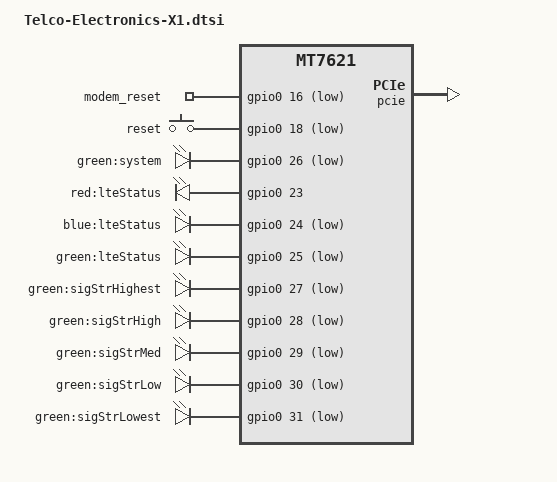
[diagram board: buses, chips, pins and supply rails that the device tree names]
/*
 *  BSD LICENSE
 *
 *  Copyright 2019 Nicholas Smith <mips171@icloud.com>
 *  Licensed to the public under the GNU GPL v2.0.
 *  All rights reserved.
 *
 *  Redistribution and use in source and binary forms, with or without
 *  modification, are permitted provided that the following conditions
 *  are met:
 *
 *    * Redistributions of source code must retain the above copyright
 *      notice, this list of conditions and the following disclaimer.
 *    * Redistributions in binary form must reproduce the above copyright
 *      notice, this list of conditions and the following disclaimer in
 *      the documentation and/or other materials provided with the
 *      distribution.
 *    * Neither the name of Broadcom Corporation nor the names of its
 *      contributors may be used to endorse or promote products derived
 *      from this software without specific prior written permission.
 *
 *  THIS SOFTWARE IS PROVIDED BY THE COPYRIGHT HOLDERS AND CONTRIBUTORS
 *  "AS IS" AND ANY EXPRESS OR IMPLIED WARRANTIES, INCLUDING, BUT NOT
 *  LIMITED TO, THE IMPLIED WARRANTIES OF MERCHANTABILITY AND FITNESS FOR
 *  A PARTICULAR PURPOSE ARE DISCLAIMED. IN NO EVENT SHALL THE COPYRIGHT
 *  OWNER OR CONTRIBUTORS BE LIABLE FOR ANY DIRECT, INDIRECT, INCIDENTAL,
 *  SPECIAL, EXEMPLARY, OR CONSEQUENTIAL DAMAGES (INCLUDING, BUT NOT
 *  LIMITED TO, PROCUREMENT OF SUBSTITUTE GOODS OR SERVICES; LOSS OF USE,
 *  DATA, OR PROFITS; OR BUSINESS INTERRUPTION) HOWEVER CAUSED AND ON ANY
 *  THEORY OF LIABILITY, WHETHER IN CONTRACT, STRICT LIABILITY, OR TORT
 *  (INCLUDING NEGLIGENCE OR OTHERWISE) ARISING IN ANY WAY OUT OF THE USE
 *  OF THIS SOFTWARE, EVEN IF ADVISED OF THE POSSIBILITY OF SUCH DAMAGE.
 */

#include "mt7621.dtsi"

#include <dt-bindings/gpio/gpio.h>
#include <dt-bindings/input/input.h>

/ {
	compatible = "telcoelectronics,x1", "mediatek,mt7621-soc";

	chosen {
		bootargs = "console=ttyS0,115200";
	};

	gpio-export {
		compatible = "gpio-export";
		#size-cells = <0>;

		modem_reset {
			gpio-export,name = "modem_reset";
			gpio-export,output = <1>;
			gpios = <&gpio0 16 GPIO_ACTIVE_LOW>;
		};

	};

	gpio-keys-polled {
		compatible = "gpio-keys-polled";
		#address-cells = <1>;
		#size-cells = <0>;
		poll-interval = <20>;

		reset {
			label = "reset";
			gpios = <&gpio0 18 GPIO_ACTIVE_LOW>;
			linux,code = <KEY_RESTART>;
		};
	};

	gpio-leds {
		compatible = "gpio-leds";
		
		system {
			label = "green:system";
			gpio-export,direction_may_change = <1>;
			gpios = <&gpio0 26 GPIO_ACTIVE_LOW>;
		};
		
		lteStatus1 {
			label = "red:lteStatus";
			gpio-export,direction_may_change = <1>;
			gpios = <&gpio0 23 GPIO_ACTIVE_HIGH>;
		};
		
		lteStatus2 {
			label = "blue:lteStatus";
			gpio-export,direction_may_change = <1>;
			gpios = <&gpio0 24 GPIO_ACTIVE_LOW>;
		};
		
		lteStatus3 {
			label = "green:lteStatus";
			gpio-export,direction_may_change = <1>;			
			gpios = <&gpio0 25 GPIO_ACTIVE_LOW>;
		};
		
		sigStr1 {
			label = "green:sigStrHighest";
			gpio-export,direction_may_change = <1>;
			gpios = <&gpio0 27 GPIO_ACTIVE_LOW>;
		};

                sigStr2 {
			label = "green:sigStrHigh";
			//gpio-export,name = "signalStrHigh";
			gpio-export,direction_may_change = <1>;
			gpios = <&gpio0 28 GPIO_ACTIVE_LOW>;
		};
		
		sigStr3 {
			label = "green:sigStrMed";
			gpio-export,direction_may_change = <1>;
			gpios = <&gpio0 29 GPIO_ACTIVE_LOW>;
		};
		
		sigStr4 {
			label = "green:sigStrLow";
			gpio-export,direction_may_change = <1>;
			gpios = <&gpio0 30 GPIO_ACTIVE_LOW>;
		};
		
		sigstr5 {
			label = "green:sigStrLowest";
			gpio-export,direction_may_change = <1>;
			gpios = <&gpio0 31 GPIO_ACTIVE_LOW>;
		};

	};
};

&gpio0 {
	status = "okay";
};

&pcie {
	status = "okay";
};

&pinctrl {
	state_default: pinctrl0 {
		gpio {
			ralink,group = "jtag", "uart2", "wdt", "rgmii2";
			ralink,function = "gpio";
		};
	};
};
